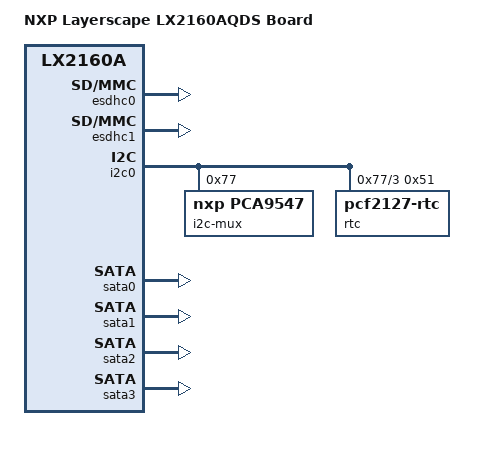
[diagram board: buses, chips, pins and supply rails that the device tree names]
// SPDX-License-Identifier: GPL-2.0+ OR X11
/*
 * NXP LX2160AQDS device tree source
 *
 * Copyright 2018-2019 NXP
 *
 */

/dts-v1/;

#include "fsl-lx2160a.dtsi"

/ {
	model = "NXP Layerscape LX2160AQDS Board";
	compatible = "fsl,lx2160aqds", "fsl,lx2160a";
};

&esdhc0 {
	status = "okay";
};

&esdhc1 {
	status = "okay";
};

&i2c0 {
	status = "okay";
	u-boot,dm-pre-reloc;

	i2c-mux@77 {
		compatible = "nxp,pca9547";
		reg = <0x77>;
		#address-cells = <1>;
		#size-cells = <0>;

		i2c@3 {
			#address-cells = <1>;
			#size-cells = <0>;
			reg = <0x3>;

			rtc@51 {
				compatible = "pcf2127-rtc";
				reg = <0x51>;
			};
		};
	};
};

&sata0 {
	status = "okay";
};

&sata1 {
	status = "okay";
};

&sata2 {
	status = "okay";
};

&sata3 {
	status = "okay";
};
